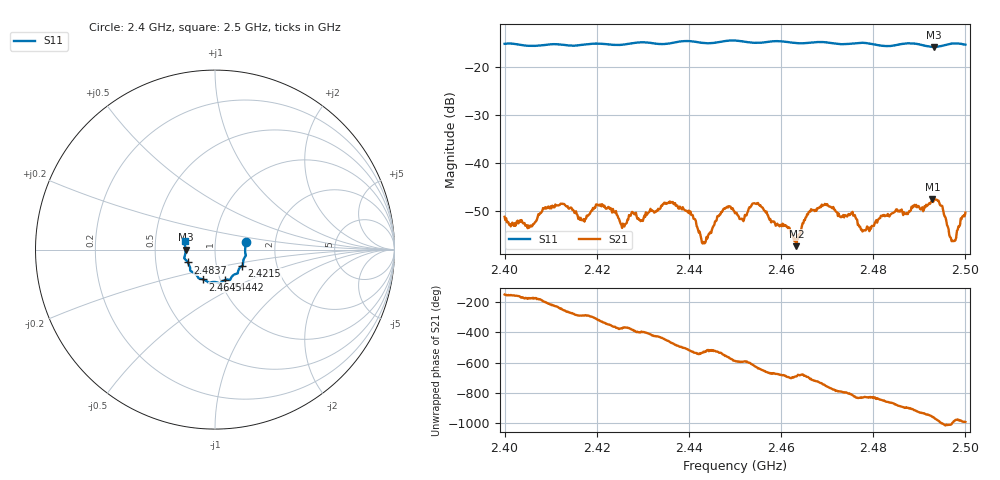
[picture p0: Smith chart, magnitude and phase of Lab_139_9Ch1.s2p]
# Hz S RI R 50
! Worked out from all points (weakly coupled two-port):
!   601 points, 2.4 GHz to 2.5 GHz, reference 50 ohm
!   highest |S21| = -47.46 dB at 2.4928 GHz (marker M1); lowest = -57.3 dB at 2.4633 GHz (marker M2)
!   lowest |S11| = -15.7 dB at 2.4932 GHz (marker M3), VSWR 1.39, Z = 35.9 - j0.0551 ohm
!   |S11| at or under -10 dB: start of sweep to end of sweep
!   S12 and S22 are empty: the file has one direction only
!   S11 on the Smith chart (normalised r, x): 2.4 GHz: 1.41, +0.12; 2.4215 GHz: 1.33, -0.25; 2.4442 GHz: 1.05, -0.37; 2.4645 GHz: 0.83, -0.29; 2.4837 GHz: 0.73, -0.11; 2.5 GHz: 0.71, +0.07
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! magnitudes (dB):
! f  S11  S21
! 2.4 GHz  -15.1  -51.2
! 2.4055 GHz  -15.5  -53.1
! 2.4125 GHz  -15.3  -48.5
! 2.4167 GHz  -15.3  -51.9
! 2.4215 GHz  -15.1  -49.1
! 2.4257 GHz  -15.3  -52.6
! 2.4333 GHz  -15.1  -49.5
! 2.4365 GHz  -14.9  -48.1
! 2.4442 GHz  -15.0  -55.1
! 2.4478 GHz  -14.5  -49.5
! 2.45 GHz  -14.4  -50.4
! 2.455 GHz  -14.9  -48.3
! 2.4633 GHz  -14.9  -57.3
! 2.4645 GHz  -15.0  -53.3
! 2.4667 GHz  -14.8  -49.8
! 2.4778 GHz  -14.9  -54.1
! 2.4833 GHz  -15.6  -51.0
! 2.4837 GHz  -15.5  -50.8
! 2.4928 GHz  -15.7  -47.5
! 2.4932 GHz  -15.7  -47.5
! 2.4973 GHz  -15.0  -56.3
! 2.5 GHz  -15.3  -50.3
